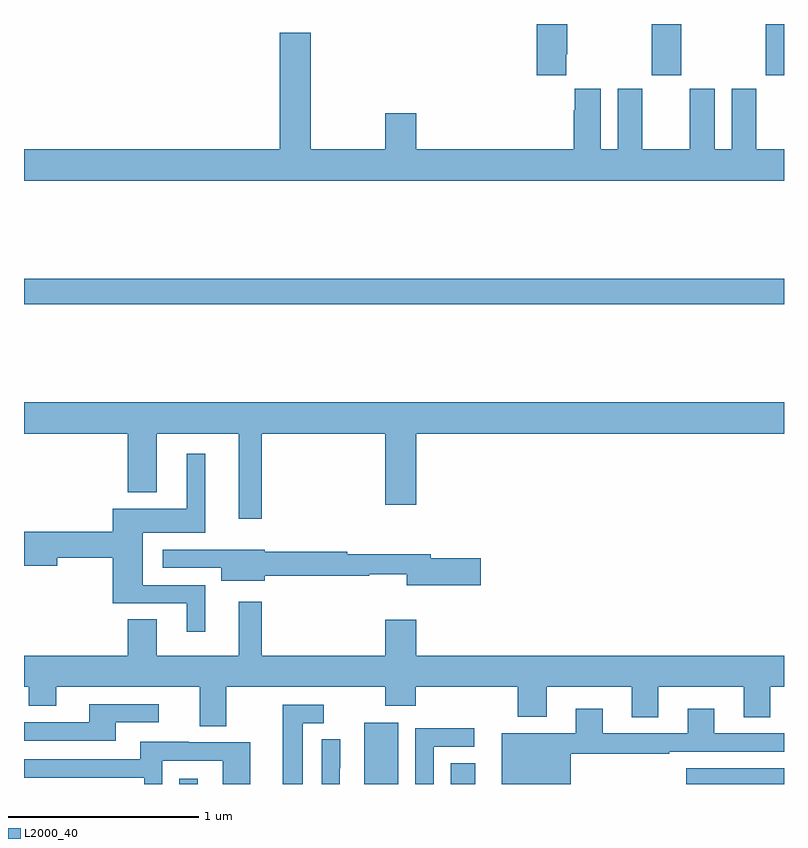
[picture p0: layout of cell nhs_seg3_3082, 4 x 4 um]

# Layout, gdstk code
import gdstk
lib = gdstk.Library(unit=1e-6, precision=1e-09)
def R(c, l, rs):  # rectangles x0, y0, x1, y1
    for r in rs: c.add(gdstk.rectangle(r[:2], r[2:], *l))
def P(c, l, *ps):  # polygons
    for p in ps: c.add(gdstk.Polygon(p, *l))
L2000_40 = (2000, 40)

nhs_seg3_3082 = lib.new_cell('nhs_seg3_3082')
R(nhs_seg3_3082, L2000_40, [(271.818,704.4,271.915,704.428), (272.792,704.4,272.971,704.722), (273.245,704.4,273.376,704.51), (274.485,704.4,275,704.482), (271,706.924,275,707.06), (274.303,708.129,274.458,708.4), (274.903,708.129,275,708.4)])
P(nhs_seg3_3082, L2000_40, [(273.853,708.241),(273.858,708.241),(273.858,708.4),(273.698,708.4),(273.698,708.129),(273.853,708.129)],
  [(275,707.74),(274.855,707.74),(274.855,708.058),(274.724,708.058),(274.724,707.74),(274.636,707.74),(274.636,708.058),(274.505,708.058),(274.505,707.74),(274.255,707.74),(274.255,708.058),(274.124,708.058),(274.124,707.74),(274.036,707.74),(274.036,708.058),(273.899,708.058),(273.899,707.945),(273.893,707.945),(273.893,707.74),(273.064,707.74),(273.064,707.929),(272.9,707.929),(272.9,707.74),(272.509,707.74),(272.509,708.355),(272.345,708.355),(272.345,707.74),(271,707.74),(271,707.576),(275,707.576)],
  [(272.251,706.244),(272.9,706.244),(272.9,705.87),(273.064,705.87),(273.064,706.244),(275,706.244),(275,706.408),(271,706.408),(271,706.244),(271.547,706.244),(271.547,705.935),(271.699,705.935),(271.699,706.244),(272.129,706.244),(272.129,705.795),(272.251,705.795)],
  [(271.954,705.447),(271.624,705.447),(271.624,705.722),(271.954,705.722),(271.954,706.138),(271.856,706.138),(271.856,705.85),(271.466,705.85),(271.466,705.728),(271,705.728),(271,705.55),(271.174,705.55),(271.174,705.592),(271.466,705.592),(271.466,705.351),(271.856,705.351),(271.856,705.201),(271.954,705.201)],
  [(273.403,705.587),(273.142,705.587),(273.142,705.608),(272.7,705.608),(272.7,705.623),(272.266,705.623),(272.266,705.634),(272.043,705.634),(272.043,705.633),(271.731,705.633),(271.731,705.537),(272.039,705.537),(272.039,705.47),(272.266,705.47),(272.266,705.495),(272.818,705.495),(272.818,705.505),(273.014,705.505),(273.014,705.445),(273.403,705.445)],
  [(272.065,704.912),(272.902,704.912),(272.902,704.813),(273.062,704.813),(273.062,704.912),(273.599,704.912),(273.599,704.753),(273.751,704.753),(273.751,704.912),(274.199,704.912),(274.199,704.752),(274.339,704.752),(274.339,704.912),(274.787,704.912),(274.787,704.752),(274.927,704.752),(274.927,704.912),(275,704.912),(275,705.076),(273.064,705.076),(273.064,705.265),(272.9,705.265),(272.9,705.076),(272.251,705.076),(272.251,705.358),(272.129,705.358),(272.129,705.076),(271.699,705.076),(271.699,705.266),(271.547,705.266),(271.547,705.076),(271,705.076),(271,704.912),(271.024,704.912),(271.024,704.813),(271.171,704.813),(271.171,704.912),(271.925,704.912),(271.925,704.704),(272.065,704.704)],
  [(271.483,704.724),(271.708,704.724),(271.708,704.82),(271.343,704.82),(271.343,704.724),(271,704.724),(271,704.628),(271.483,704.628)],
  [(272.467,704.721),(272.578,704.721),(272.578,704.817),(272.363,704.817),(272.363,704.4),(272.467,704.4)],
  [(273.877,704.559),(274.397,704.559),(274.397,704.571),(275,704.571),(275,704.667),(274.633,704.667),(274.633,704.797),(274.493,704.797),(274.493,704.667),(274.045,704.667),(274.045,704.797),(273.905,704.797),(273.905,704.668),(273.515,704.668),(273.515,704.4),(273.877,704.4)],
  [(273.156,704.595),(273.37,704.595),(273.37,704.694),(273.06,704.694),(273.06,704.4),(273.156,704.4)],
  [(272.663,704.482),(272.664,704.482),(272.664,704.636),(272.568,704.636),(272.568,704.4),(272.663,704.4)],
  [(271.728,704.523),(272.046,704.523),(272.046,704.4),(272.191,704.4),(272.191,704.619),(271.867,704.619),(271.867,704.623),(271.613,704.623),(271.613,704.529),(271,704.529),(271,704.433),(271.632,704.433),(271.632,704.4),(271.728,704.4)])

lib.write_gds('nhs_seg3_3082.gds')
